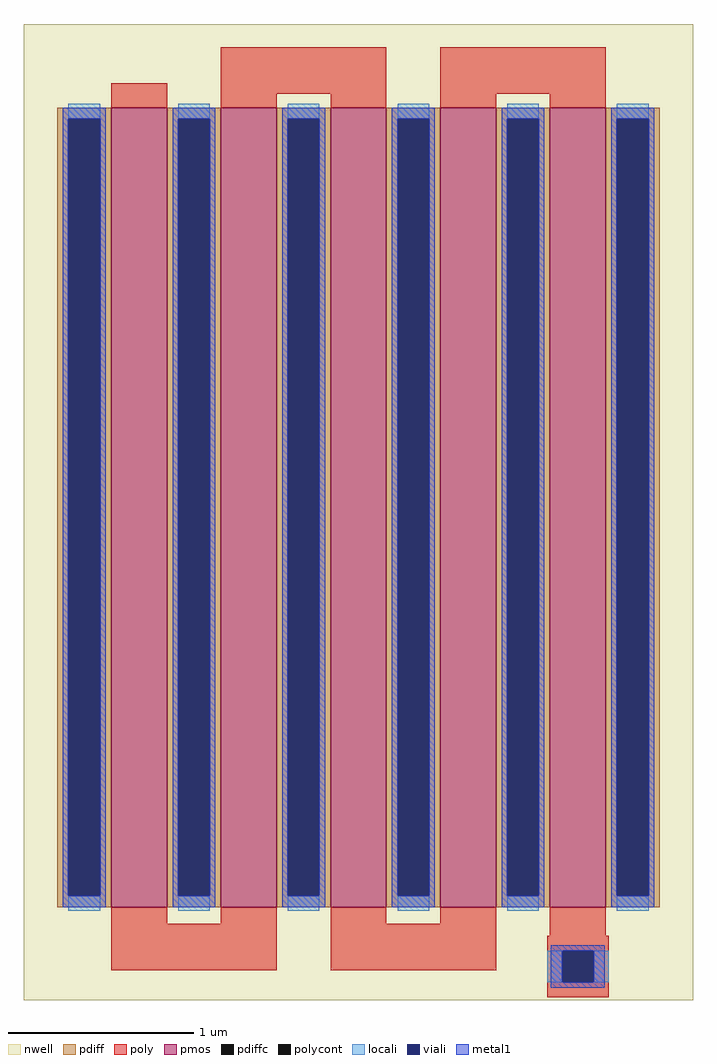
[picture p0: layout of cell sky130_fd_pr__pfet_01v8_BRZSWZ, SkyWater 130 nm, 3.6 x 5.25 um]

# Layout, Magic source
magic
tech sky130A
magscale 1 2
<< nwell >>
rect -360 -494 360 556
<< pmos >>
rect -266 -394 -206 466
rect -148 -394 -88 466
rect -30 -394 30 466
rect 88 -394 148 466
rect 206 -394 266 466
<< pdiff >>
rect -324 454 -266 466
rect -324 -382 -312 454
rect -278 -382 -266 454
rect -324 -394 -266 -382
rect -206 454 -148 466
rect -206 -382 -194 454
rect -160 -382 -148 454
rect -206 -394 -148 -382
rect -88 454 -30 466
rect -88 -382 -76 454
rect -42 -382 -30 454
rect -88 -394 -30 -382
rect 30 454 88 466
rect 30 -382 42 454
rect 76 -382 88 454
rect 30 -394 88 -382
rect 148 454 206 466
rect 148 -382 160 454
rect 194 -382 206 454
rect 148 -394 206 -382
rect 266 454 324 466
rect 266 -382 278 454
rect 312 -382 324 454
rect 266 -394 324 -382
<< pdiffc >>
rect -312 -382 -278 454
rect -194 -382 -160 454
rect -76 -382 -42 454
rect 42 -382 76 454
rect 160 -382 194 454
rect 278 -382 312 454
<< poly >>
rect -266 466 -206 492
rect -148 481 30 531
rect -148 466 -88 481
rect -30 466 30 481
rect 88 481 266 531
rect 88 466 148 481
rect 206 466 266 481
rect -266 -412 -206 -394
rect -148 -412 -88 -394
rect -266 -462 -88 -412
rect -30 -412 30 -394
rect 88 -412 148 -394
rect -30 -462 148 -412
rect 206 -425 266 -394
rect 203 -441 269 -425
rect 203 -475 219 -441
rect 253 -475 269 -441
rect 203 -491 269 -475
<< polycont >>
rect 219 -475 253 -441
<< locali >>
rect -312 454 -278 470
rect -312 -398 -278 -382
rect -194 454 -160 470
rect -194 -398 -160 -382
rect -76 454 -42 470
rect -76 -398 -42 -382
rect 42 454 76 470
rect 42 -398 76 -382
rect 160 454 194 470
rect 160 -398 194 -382
rect 278 454 312 470
rect 278 -398 312 -382
rect 203 -475 219 -441
rect 253 -475 269 -441
<< viali >>
rect -312 -382 -278 454
rect -194 -382 -160 454
rect -76 -382 -42 454
rect 42 -382 76 454
rect 160 -382 194 454
rect 278 -382 312 454
rect 219 -475 253 -441
<< metal1 >>
rect -318 454 -272 466
rect -318 -382 -312 454
rect -278 -382 -272 454
rect -318 -394 -272 -382
rect -200 454 -154 466
rect -200 -382 -194 454
rect -160 -382 -154 454
rect -200 -394 -154 -382
rect -82 454 -36 466
rect -82 -382 -76 454
rect -42 -382 -36 454
rect -82 -394 -36 -382
rect 36 454 82 466
rect 36 -382 42 454
rect 76 -382 82 454
rect 36 -394 82 -382
rect 154 454 200 466
rect 154 -382 160 454
rect 194 -382 200 454
rect 154 -394 200 -382
rect 272 454 318 466
rect 272 -382 278 454
rect 312 -382 318 454
rect 272 -394 318 -382
rect 207 -441 265 -435
rect 207 -475 219 -441
rect 253 -475 265 -441
rect 207 -481 265 -475
<< properties >>
string gencell sky130_fd_pr__pfet_01v8
string library sky130
string parameters w 4.3 l 0.3 m 1 nf 5 diffcov 100 polycov 100 guard 0 glc 1 grc 1 gtc 1 gbc 1 tbcov 100 rlcov 100 topc 0 botc 1 poverlap 0 doverlap 1 lmin 0.15 wmin 0.42 compatible {sky130_fd_pr__pfet_01v8  sky130_fd_pr__pfet_01v8_lvt sky130_fd_pr__pfet_01v8_hvt  sky130_fd_pr__pfet_g5v0d10v5} full_metal 1 viasrc 100 viadrn 100 viagate 100 viagb 0 viagr 0 viagl 0 viagt 0
<< end >>
